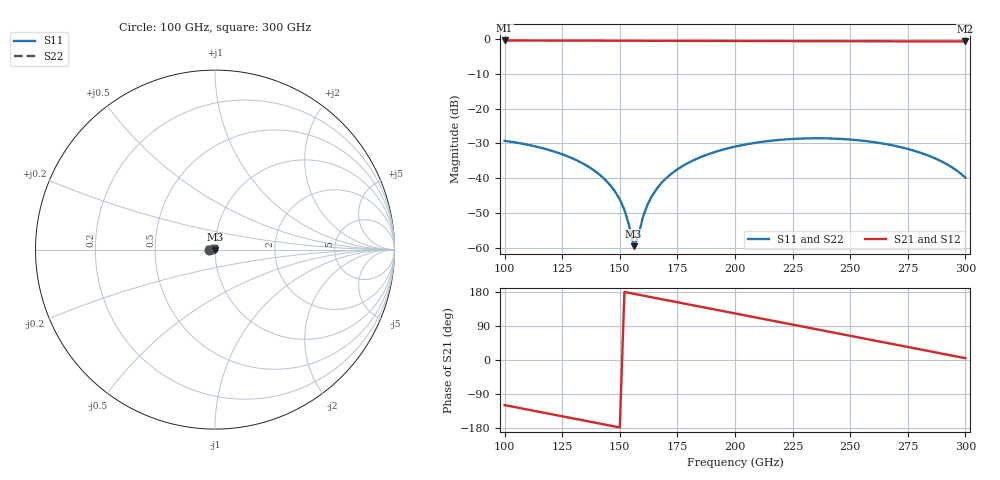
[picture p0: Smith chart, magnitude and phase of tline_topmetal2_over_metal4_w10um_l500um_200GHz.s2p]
#  GHZ S DB R 50
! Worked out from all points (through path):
!   101 points, 100 GHz to 300 GHz, reference 50 ohm
!   highest |S21| = -0.45 dB at 100 GHz (marker M1); lowest = -0.7 dB at 300 GHz (marker M2)
!   group delay of S21, straight-line fit = 3.28 ps
!   lowest |S11| = -59.5 dB at 156 GHz (marker M3), VSWR 1.00, Z = 49.9 + j0.00221 ohm
!   |S11| at or under -10 dB: start of sweep to end of sweep
!   |S22| runs from -59.7 to -28.5 dB; largest |S21 - S12| = 1.1e-14
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100  -29.27 -172.2  -0.45 -119.1  -0.45 -119.1  -29.24 -172.1
120  -32.03 160.8  -0.48 -142.7  -0.48 -142.7  -32.00 161.0
134  -35.77 143.4  -0.50 -159.2  -0.50 -159.2  -35.74 143.6
142  -39.40 134.7  -0.51 -168.6  -0.51 -168.6  -39.37 134.9
148  -43.88 130.4  -0.52 -175.7  -0.52 -175.7  -43.87 130.6
152  -49.09 132.7  -0.53 179.6  -0.53 179.6  -49.10 132.7
154  -53.44 141.3  -0.53 177.2  -0.53 177.2  -53.50 141.2
156  -59.51 178.8  -0.53 174.8  -0.53 174.8  -59.71 179.4
158  -56.73 -113.4  -0.54 172.5  -0.54 172.5  -56.74 -111.9
160  -51.24 -94.6  -0.54 170.1  -0.54 170.1  -51.19 -93.7
162  -47.62 -89.9  -0.54 167.8  -0.54 167.8  -47.57 -89.2
168  -41.43 -90.5  -0.55 160.7  -0.55 160.7  -41.38 -90.0
174  -37.90 -95.9  -0.56 153.6  -0.56 153.6  -37.86 -95.4
180  -35.49 -102.3  -0.57 146.5  -0.57 146.5  -35.45 -101.9
200  -30.93 -125.8  -0.60 122.9  -0.60 122.9  -30.89 -125.4
218  -29.08 -147.4  -0.62 101.6  -0.62 101.6  -29.05 -147.0
234  -28.54 -166.6  -0.65 82.7  -0.65 82.7  -28.51 -166.2
250  -28.90 174.5  -0.67 63.9  -0.67 63.9  -28.87 174.7
268  -30.51 153.6  -0.69 42.6  -0.69 42.6  -30.50 153.7
286  -34.06 134.1  -0.71 21.3  -0.71 21.3  -34.06 133.9
294  -36.80 126.9  -0.72 11.9  -0.72 11.9  -36.81 126.4
300  -39.82 123.3  -0.73 4.8  -0.73 4.8  -39.86 122.5
